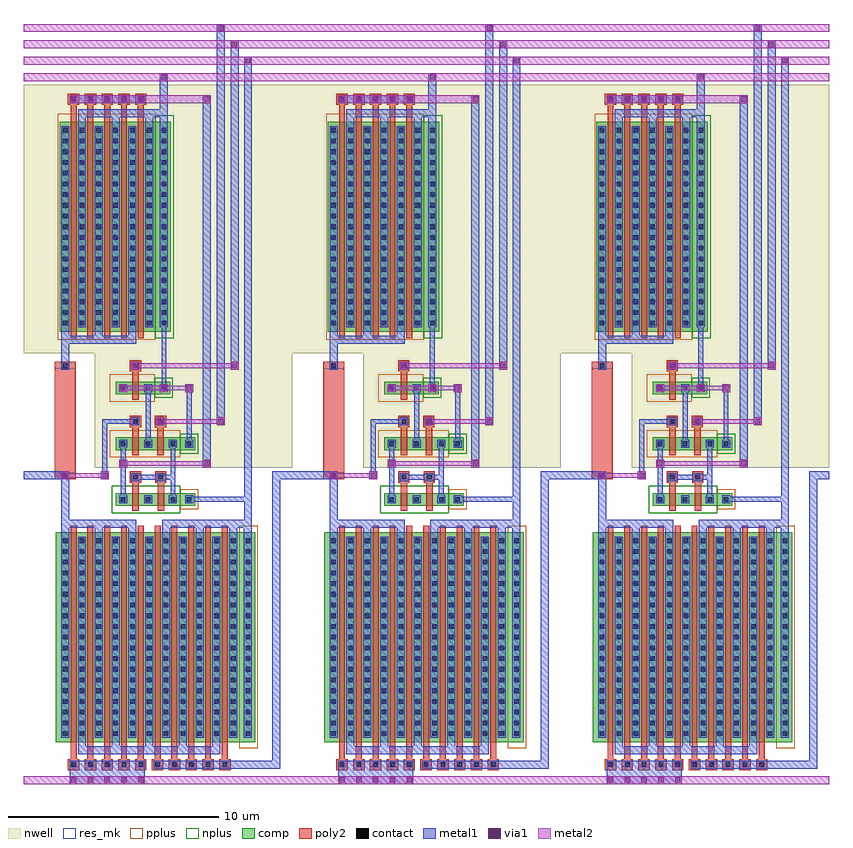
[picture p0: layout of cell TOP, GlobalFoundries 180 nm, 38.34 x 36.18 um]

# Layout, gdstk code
import gdstk
lib = gdstk.Library(unit=1e-6, precision=1e-09)
def R(c, l, rs):  # rectangles x0, y0, x1, y1
    for r in rs: c.add(gdstk.rectangle(r[:2], r[2:], *l))
def A(c, l, x, y, w, h, nx, ny, dx, dy):  # array of equal rectangles
    R(c, l, [(x+i*dx, y+j*dy, x+i*dx+w, y+j*dy+h) for i in range(nx) for j in range(ny)])
nwell = (21, 0)
comp = (22, 0)
poly2 = (30, 0)
pplus = (31, 0)
nplus = (32, 0)
contact = (33, 0)
metal1 = (34, 0)
via1 = (35, 0)
metal2 = (36, 0)
res_mk = (110, 5)

gainstage = lib.new_cell('GainStage')
R(gainstage, nwell, [(-2.905,2.845,6.505,8.285), (-6.275,8.285,6.505,21.065)])
R(gainstage, comp, [(-4.755,-10.225,4.746,-0.224), (-1.905,1.035,1.895,1.635), (-1.905,3.685,1.895,4.285), (-1.905,6.335,0.695,6.935), (-4.575,9.315,0.726,19.315)])
A(gainstage, poly2, -4.175, -11.565, 0.54, 0.54, 10, 1, 0.8, 0)
A(gainstage, poly2, -4.045, -11.025, 0.28, 11.101, 10, 1, 0.8, 0)
A(gainstage, poly2, -1.105, 0.785, 0.3, 1.34, 1, 3, 0, 2.65)
A(gainstage, poly2, -1.235, 2.125, 0.54, 0.54, 1, 3, 0, 2.65)
A(gainstage, poly2, -4.045, 9.015, 0.28, 11.1, 5, 1, 0.8, 0)
A(gainstage, poly2, -4.175, 20.115, 0.54, 0.54, 5, 1, 0.8, 0)
R(gainstage, poly2, [(0.105,0.785,0.405,2.125), (-0.025,2.125,0.515,2.665), (-4.805,2.285,-3.805,7.885), (-4.805,2.285,-3.805,7.885), (0.085,3.435,0.385,4.775), (-0.045,4.775,0.495,5.315)])
R(gainstage, pplus, [(3.985,-10.525,4.865,0.086), (1.17,0.86,2.025,1.81), (-2.175,3.335,1.175,4.635), (-2.18,5.985,-0.03,7.285), (-4.665,8.94,-0.014,19.69)])
R(gainstage, nplus, [(-2.08,0.685,1.17,1.985), (1.175,3.515,2.03,4.465), (-0.03,6.165,0.825,7.115), (-0.014,9.005,0.866,19.615)])
A(gainstage, contact, -4.015, -11.405, 0.22, 0.22, 10, 1, 0.8, 0)
A(gainstage, contact, -4.415, -9.925, 0.22, 0.22, 5, 5, 0.8, 0.51)
A(gainstage, contact, -0.415, -9.925, 0.221, 0.22, 1, 5, 0, 0.51)
A(gainstage, contact, 0.385, -9.925, 0.22, 0.22, 5, 5, 0.8, 0.51)
A(gainstage, contact, 4.285, -9.925, 0.22, 0.22, 1, 5, 0, 0.51)
A(gainstage, contact, -4.415, -7.375, 0.22, 0.221, 5, 1, 0.8, 0)
A(gainstage, contact, 0.385, -7.375, 0.22, 0.221, 5, 1, 0.8, 0)
A(gainstage, contact, -4.415, -6.864, 0.22, 0.22, 5, 11, 0.8, 0.51)
A(gainstage, contact, -0.415, -6.864, 0.221, 0.22, 1, 11, 0, 0.51)
A(gainstage, contact, 0.385, -6.864, 0.22, 0.22, 5, 11, 0.8, 0.51)
A(gainstage, contact, 4.285, -6.864, 0.22, 0.22, 1, 13, 0, 0.51)
A(gainstage, contact, -4.415, -1.254, 0.22, 0.22, 11, 2, 0.8, 0.51)
A(gainstage, contact, -1.655, 1.225, 0.22, 0.22, 1, 3, 0, 2.65)
A(gainstage, contact, -0.465, 1.225, 0.22, 0.22, 1, 3, 0, 2.65)
A(gainstage, contact, -1.075, 2.285, 0.22, 0.22, 1, 3, 0, 2.65)
A(gainstage, contact, -4.415, 9.615, 0.22, 0.22, 5, 19, 0.8, 0.51)
A(gainstage, contact, -0.415, 9.615, 0.221, 0.22, 1, 19, 0, 0.51)
A(gainstage, contact, 0.285, 9.615, 0.22, 0.22, 1, 19, 0, 0.51)
A(gainstage, contact, -4.015, 20.275, 0.22, 0.22, 5, 1, 0.8, 0)
R(gainstage, contact, [(-0.415,-7.375,-0.194,-7.154), (4.285,-7.375,4.505,-7.154), (0.715,1.225,0.935,1.445), (1.485,1.225,1.705,1.445), (0.135,2.285,0.355,2.505), (-4.415,2.365,-4.195,2.585), (-4.415,2.365,-4.195,2.585), (0.715,3.875,0.935,4.095), (1.485,3.875,1.705,4.095), (0.115,4.935,0.335,5.155), (0.285,6.525,0.505,6.745), (-4.415,7.585,-4.195,7.805), (-4.415,7.585,-4.195,7.805)])
A(gainstage, metal1, -4.095, -11.485, 0.38, 0.38, 10, 1, 0.8, 0)
A(gainstage, metal1, -3.695, -10.42, 0.38, 0.415, 5, 1, 1.6, 0)
A(gainstage, metal1, -4.495, -10.005, 0.38, 9.561, 5, 1, 0.8, 0)
A(gainstage, metal1, 0.305, -10.005, 0.38, 9.561, 5, 1, 0.8, 0)
A(gainstage, metal1, -2.895, -0.444, 0.38, 0.42, 5, 1, 1.6, 0)
A(gainstage, metal1, -0.545, 1.145, 0.38, 0.38, 1, 3, 0, 2.65)
A(gainstage, metal1, 1.405, 1.145, 0.38, 0.38, 1, 3, 0, 2.65)
A(gainstage, metal1, -1.155, 2.205, 0.38, 0.38, 1, 3, 0, 2.65)
A(gainstage, metal1, -4.495, 9.535, 0.38, 9.56, 5, 1, 0.8, 0)
A(gainstage, metal1, -4.095, 20.195, 0.38, 0.38, 5, 1, 0.8, 0)
R(gainstage, metal1, [(-4.095,-12.215,-0.515,-11.105), (3.105,-11.486,5.925,-11.106), (5.545,-11.486,5.925,2.665), (-4.095,-11.485,-0.515,-11.105), (-0.095,-11.485,3.485,-11.105), (-3.695,-10.8,3.085,-10.42), (-0.495,-10.005,-0.114,-0.444), (4.205,-10.005,4.585,-0.444), (-4.495,-2.31,-4.115,2.665), (4.205,-0.444,4.585,-0.024), (4.215,-0.025,4.585,22.405), (-4.495,-0.024,-0.915,0.356), (0.305,-0.024,4.585,0.356), (-1.735,1.145,-1.355,1.525), (0.635,1.145,1.015,1.525), (1.485,1.22,4.585,1.45), (-1.66,1.525,-1.43,3.795), (0.71,1.525,0.94,3.795), (0.055,2.205,0.435,2.585), (-0.775,2.28,0.055,2.51), (0.435,2.28,0.935,2.51), (-6.275,2.285,-4.115,2.665), (-4.495,2.285,-4.115,2.665), (-4.495,2.285,-4.115,2.665), (-2.605,2.285,-2.225,2.665), (5.545,2.285,6.505,2.665), (-2.53,2.36,-2.3,5.16), (-1.735,2.845,-1.355,3.225), (2.255,2.845,2.635,3.225), (2.255,2.845,2.635,20.575), (-1.735,3.795,-1.355,4.175), (0.635,3.795,1.015,4.175), (-0.47,4.175,-0.24,6.445), (1.48,4.175,1.71,6.445), (0.035,4.855,0.415,5.235), (2.915,4.855,3.295,5.235), (2.915,4.855,3.295,23.965), (-2.53,4.93,-0.85,5.16), (-1.735,6.445,-1.355,6.825), (0.205,6.445,0.585,6.825), (0.28,6.525,0.51,9.835), (-4.495,7.505,-4.115,7.885), (-4.495,7.505,-4.115,7.885), (-4.495,7.505,-4.115,9.535), (3.575,7.505,3.955,23.185), (-4.495,8.735,-0.915,9.115), (-2.895,9.115,-2.515,9.535), (-1.295,9.115,-0.915,9.535), (-0.495,9.535,-0.114,19.095), (0.205,9.535,0.585,19.095), (-3.695,19.095,-3.315,19.515), (-2.095,19.095,-1.715,19.515), (-0.495,19.095,-0.114,19.515), (0.205,19.095,0.585,19.515), (-3.695,19.515,0.585,19.895), (0.205,19.515,0.585,21.625), (-4.095,20.195,-0.515,20.575)])
A(gainstage, via1, -4.035, -12.155, 0.26, 0.26, 5, 2, 0.8, 32.41)
R(gainstage, via1, [(-4.435,2.345,-4.175,2.605), (-4.435,2.345,-4.175,2.605), (-4.435,2.345,-4.175,2.605), (-2.545,2.345,-2.285,2.605), (-1.675,2.905,-1.415,3.165), (2.315,2.905,2.575,3.165), (0.095,4.915,0.355,5.175), (2.975,4.915,3.235,5.175), (-1.675,6.505,-1.415,6.765), (0.265,6.505,0.525,6.765), (1.465,6.505,1.725,6.765), (-1.095,7.565,-0.835,7.825), (3.635,7.565,3.895,7.825), (2.315,20.255,2.575,20.515), (0.265,21.305,0.525,21.565), (4.275,22.085,4.535,22.345), (3.635,22.865,3.895,23.125), (2.975,23.645,3.235,23.905)])
A(gainstage, metal2, -6.275, 21.245, 12.78, 0.38, 1, 4, 0, 0.78)
R(gainstage, metal2, [(-6.275,-12.215,6.505,-11.835), (-4.495,2.285,-4.115,2.665), (-2.605,2.285,-2.225,2.665), (-4.415,2.365,-2.305,2.585), (-1.735,2.845,-1.355,3.225), (2.255,2.845,2.635,3.225), (-1.655,2.925,2.555,3.145), (0.035,4.855,0.415,5.235), (2.915,4.855,3.295,5.235), (0.115,4.935,3.215,5.155), (-1.735,6.445,-1.355,6.825), (0.205,6.445,0.585,6.825), (1.405,6.445,1.785,6.825), (-1.655,6.525,1.705,6.745), (-1.155,7.505,-0.775,7.885), (3.575,7.505,3.955,7.885), (-1.075,7.58,3.875,7.81), (-4.095,20.195,2.635,20.575)])
R(gainstage, res_mk, [(-4.805,2.585,-3.805,7.585), (-4.805,2.585,-3.805,7.585)])

top = lib.new_cell('TOP')
r = gdstk.Reference(gainstage, (-11.82,-0.06)); r.repetition = gdstk.Repetition(1, 1, v1=(0,0), v2=(0,0)); top.add(r)
r = gdstk.Reference(gainstage, (0.96,-0.06)); r.repetition = gdstk.Repetition(1, 1, v1=(0,0), v2=(0,0)); top.add(r)
r = gdstk.Reference(gainstage, (13.74,-0.06)); r.repetition = gdstk.Repetition(1, 1, v1=(0,0), v2=(0,0)); top.add(r)

lib.write_gds('TOP.gds')
